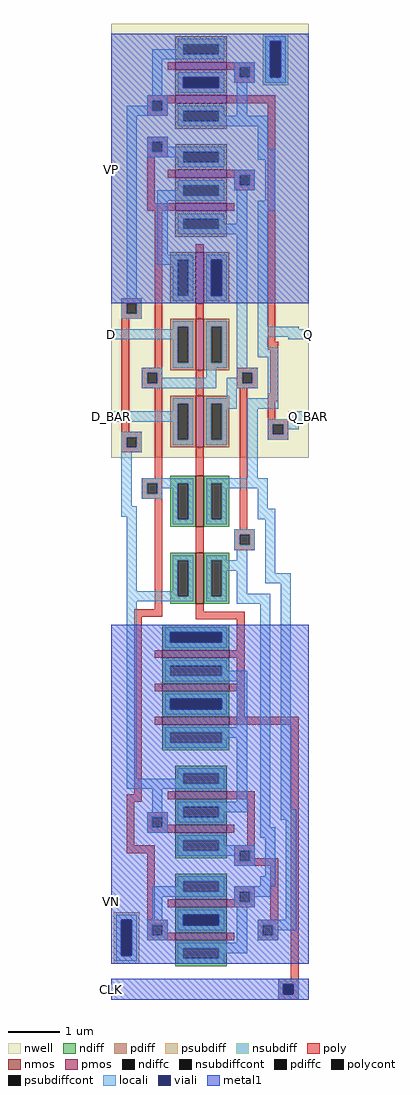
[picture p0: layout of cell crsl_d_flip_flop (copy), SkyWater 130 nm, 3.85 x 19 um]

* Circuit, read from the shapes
.subckt crsl_d_flip_flop (copy) CLK D D_BAR Q Q_BAR VN VP
XM1 VN CLK n1 VN sky130_fd_pr__nfet_01v8 w=1.3 l=0.15 m=3
XM2 VN n2 n3 VN sky130_fd_pr__nfet_01v8 w=1 l=0.15
XM3 n2 n3 VN VN sky130_fd_pr__nfet_01v8 w=1 l=0.15
XM4 n1 Q_BAR Q VN sky130_fd_pr__nfet_01v8 w=1 l=0.15
XM5 Q_BAR Q n1 VN sky130_fd_pr__nfet_01v8 w=1 l=0.15
XM6 n3 CLK Q_BAR VN sky130_fd_pr__nfet_01v8 w=1 l=0.15
XM7 Q CLK n2 VN sky130_fd_pr__nfet_01v8 w=1 l=0.15
XM8 n4 n2 n3 VP sky130_fd_pr__pfet_01v8 w=1 l=0.15
XM9 n2 n3 n4 VP sky130_fd_pr__pfet_01v8 w=1 l=0.15
XM10 VP Q_BAR Q VP sky130_fd_pr__pfet_01v8 w=1 l=0.15
XM11 Q_BAR Q VP VP sky130_fd_pr__pfet_01v8 w=1 l=0.15
XM12 n3 CLK D_BAR VP sky130_fd_pr__pfet_01v8 w=1 l=0.15
XM13 n2 CLK D VP sky130_fd_pr__pfet_01v8 w=1 l=0.15
XM14 VP CLK n4 VP sky130_fd_pr__pfet_01v8 w=1 l=0.15
.ends

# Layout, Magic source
magic
tech sky130A
<< nwell >>
rect 85 -405 470 440
<< nmos >>
rect 250 -540 265 -440
rect 250 -690 265 -590
rect 185 -795 315 -780
rect 185 -860 315 -845
rect 185 -925 315 -910
rect 210 -1070 310 -1055
rect 210 -1135 310 -1120
rect 210 -1280 310 -1265
rect 210 -1345 310 -1330
<< pmos >>
rect 210 350 310 365
rect 210 285 310 300
rect 210 140 310 155
rect 210 75 310 90
rect 250 -105 265 -5
rect 250 -235 265 -135
rect 250 -385 265 -285
<< ndiff >>
rect 200 -455 250 -440
rect 200 -525 215 -455
rect 235 -525 250 -455
rect 200 -540 250 -525
rect 265 -455 315 -440
rect 265 -525 280 -455
rect 300 -525 315 -455
rect 265 -540 315 -525
rect 200 -605 250 -590
rect 200 -675 215 -605
rect 235 -675 250 -605
rect 200 -690 250 -675
rect 265 -605 315 -590
rect 265 -675 280 -605
rect 300 -675 315 -605
rect 265 -690 315 -675
rect 185 -745 315 -730
rect 185 -765 200 -745
rect 300 -765 315 -745
rect 185 -780 315 -765
rect 185 -810 315 -795
rect 185 -830 200 -810
rect 300 -830 315 -810
rect 185 -845 315 -830
rect 185 -875 315 -860
rect 185 -895 200 -875
rect 300 -895 315 -875
rect 185 -910 315 -895
rect 185 -940 315 -925
rect 185 -960 200 -940
rect 300 -960 315 -940
rect 185 -975 315 -960
rect 210 -1020 310 -1005
rect 210 -1040 225 -1020
rect 295 -1040 310 -1020
rect 210 -1055 310 -1040
rect 210 -1085 310 -1070
rect 210 -1105 225 -1085
rect 295 -1105 310 -1085
rect 210 -1120 310 -1105
rect 210 -1150 310 -1135
rect 210 -1170 225 -1150
rect 295 -1170 310 -1150
rect 210 -1185 310 -1170
rect 210 -1230 310 -1215
rect 210 -1250 225 -1230
rect 295 -1250 310 -1230
rect 210 -1265 310 -1250
rect 210 -1295 310 -1280
rect 210 -1315 225 -1295
rect 295 -1315 310 -1295
rect 210 -1330 310 -1315
rect 210 -1360 310 -1345
rect 210 -1380 225 -1360
rect 295 -1380 310 -1360
rect 210 -1395 310 -1380
<< pdiff >>
rect 210 400 310 415
rect 210 380 225 400
rect 295 380 310 400
rect 210 365 310 380
rect 210 335 310 350
rect 210 315 225 335
rect 295 315 310 335
rect 210 300 310 315
rect 210 270 310 285
rect 210 250 225 270
rect 295 250 310 270
rect 210 235 310 250
rect 210 190 310 205
rect 210 170 225 190
rect 295 170 310 190
rect 210 155 310 170
rect 210 125 310 140
rect 210 105 225 125
rect 295 105 310 125
rect 210 90 310 105
rect 210 60 310 75
rect 210 40 225 60
rect 295 40 310 60
rect 210 25 310 40
rect 200 -20 250 -5
rect 200 -90 215 -20
rect 235 -90 250 -20
rect 200 -105 250 -90
rect 265 -20 315 -5
rect 265 -90 280 -20
rect 300 -90 315 -20
rect 265 -105 315 -90
rect 200 -150 250 -135
rect 200 -220 215 -150
rect 235 -220 250 -150
rect 200 -235 250 -220
rect 265 -150 315 -135
rect 265 -220 280 -150
rect 300 -220 315 -150
rect 265 -235 315 -220
rect 200 -300 250 -285
rect 200 -370 215 -300
rect 235 -370 250 -300
rect 200 -385 250 -370
rect 265 -300 315 -285
rect 265 -370 280 -300
rect 300 -370 315 -300
rect 265 -385 315 -370
<< ndiffc >>
rect 215 -525 235 -455
rect 280 -525 300 -455
rect 215 -675 235 -605
rect 280 -675 300 -605
rect 200 -765 300 -745
rect 200 -830 300 -810
rect 200 -895 300 -875
rect 200 -960 300 -940
rect 225 -1040 295 -1020
rect 225 -1105 295 -1085
rect 225 -1170 295 -1150
rect 225 -1250 295 -1230
rect 225 -1315 295 -1295
rect 225 -1380 295 -1360
<< pdiffc >>
rect 225 380 295 400
rect 225 315 295 335
rect 225 250 295 270
rect 225 170 295 190
rect 225 105 295 125
rect 225 40 295 60
rect 215 -90 235 -20
rect 280 -90 300 -20
rect 215 -220 235 -150
rect 280 -220 300 -150
rect 215 -370 235 -300
rect 280 -370 300 -300
<< psubdiff >>
rect 90 -1305 140 -1290
rect 90 -1375 105 -1305
rect 125 -1375 140 -1305
rect 90 -1390 140 -1375
<< nsubdiff >>
rect 380 405 430 420
rect 380 335 395 405
rect 415 335 430 405
rect 380 320 430 335
<< psubdiffcont >>
rect 105 -1375 125 -1305
<< nsubdiffcont >>
rect 395 335 415 405
<< poly >>
rect 195 350 210 365
rect 310 355 365 365
rect 310 350 335 355
rect 325 335 335 350
rect 355 335 365 355
rect 325 325 365 335
rect 155 290 210 300
rect 155 270 165 290
rect 185 285 210 290
rect 310 285 405 300
rect 185 270 195 285
rect 155 260 195 270
rect 155 210 195 220
rect 155 190 165 210
rect 185 190 195 210
rect 155 180 195 190
rect 155 90 170 180
rect 195 140 210 155
rect 310 145 365 155
rect 310 140 335 145
rect 325 125 335 140
rect 355 125 365 145
rect 325 115 365 125
rect 155 75 210 90
rect 310 75 325 90
rect 105 -105 145 -95
rect 105 -125 115 -105
rect 135 -125 145 -105
rect 105 -135 145 -125
rect 105 -355 120 -135
rect 170 -230 185 75
rect 250 -5 265 10
rect 250 -135 265 -105
rect 145 -240 185 -230
rect 390 -180 405 285
rect 390 -195 410 -180
rect 145 -260 155 -240
rect 175 -260 185 -240
rect 145 -270 185 -260
rect 105 -365 145 -355
rect 105 -385 115 -365
rect 135 -385 145 -365
rect 105 -395 145 -385
rect 170 -445 185 -270
rect 250 -285 265 -235
rect 330 -240 370 -230
rect 330 -260 340 -240
rect 360 -260 370 -240
rect 330 -270 370 -260
rect 250 -440 265 -385
rect 145 -455 185 -445
rect 145 -475 155 -455
rect 175 -475 185 -455
rect 145 -485 185 -475
rect 170 -700 185 -485
rect 250 -590 265 -540
rect 335 -545 350 -270
rect 395 -280 410 -195
rect 390 -295 410 -280
rect 390 -330 405 -295
rect 390 -340 430 -330
rect 390 -360 400 -340
rect 420 -360 430 -340
rect 390 -370 430 -360
rect 325 -555 365 -545
rect 325 -575 335 -555
rect 355 -575 365 -555
rect 325 -585 365 -575
rect 130 -715 185 -700
rect 250 -705 265 -690
rect 130 -1060 145 -715
rect 250 -720 345 -705
rect 330 -780 345 -720
rect 170 -795 185 -780
rect 315 -795 345 -780
rect 330 -845 345 -795
rect 170 -860 185 -845
rect 315 -860 345 -845
rect 330 -910 345 -860
rect 170 -925 185 -910
rect 315 -925 450 -910
rect 115 -1075 145 -1060
rect 195 -1070 210 -1055
rect 310 -1070 365 -1055
rect 115 -1160 130 -1075
rect 155 -1105 195 -1095
rect 155 -1125 165 -1105
rect 185 -1120 195 -1105
rect 185 -1125 210 -1120
rect 155 -1135 210 -1125
rect 310 -1135 325 -1120
rect 115 -1175 170 -1160
rect 155 -1305 170 -1175
rect 350 -1160 365 -1070
rect 325 -1170 365 -1160
rect 325 -1190 335 -1170
rect 355 -1185 365 -1170
rect 355 -1190 410 -1185
rect 325 -1200 410 -1190
rect 325 -1250 365 -1240
rect 325 -1265 335 -1250
rect 195 -1280 210 -1265
rect 310 -1270 335 -1265
rect 355 -1270 365 -1250
rect 310 -1280 365 -1270
rect 155 -1315 195 -1305
rect 155 -1335 165 -1315
rect 185 -1330 195 -1315
rect 395 -1305 410 -1200
rect 370 -1315 410 -1305
rect 185 -1335 210 -1330
rect 155 -1345 210 -1335
rect 310 -1345 325 -1330
rect 370 -1335 380 -1315
rect 400 -1335 410 -1315
rect 370 -1345 410 -1335
rect 435 -1420 450 -925
rect 410 -1430 450 -1420
rect 410 -1450 420 -1430
rect 440 -1450 450 -1430
rect 410 -1460 450 -1450
<< polycont >>
rect 335 335 355 355
rect 165 270 185 290
rect 165 190 185 210
rect 335 125 355 145
rect 115 -125 135 -105
rect 155 -260 175 -240
rect 115 -385 135 -365
rect 340 -260 360 -240
rect 155 -475 175 -455
rect 400 -360 420 -340
rect 335 -575 355 -555
rect 165 -1125 185 -1105
rect 335 -1190 355 -1170
rect 335 -1270 355 -1250
rect 165 -1335 185 -1315
rect 380 -1335 400 -1315
rect 420 -1450 440 -1430
<< locali >>
rect 215 400 305 410
rect 215 390 225 400
rect 165 380 225 390
rect 295 380 305 400
rect 165 370 305 380
rect 385 405 425 415
rect 165 300 185 370
rect 325 355 365 365
rect 215 335 305 345
rect 215 315 225 335
rect 295 315 305 335
rect 325 335 335 355
rect 355 335 365 355
rect 325 325 365 335
rect 385 335 395 405
rect 415 335 425 405
rect 385 325 425 335
rect 215 305 305 315
rect 155 290 195 300
rect 155 280 165 290
rect 115 270 165 280
rect 185 270 195 290
rect 115 260 195 270
rect 215 270 305 280
rect 115 -95 135 260
rect 215 250 225 270
rect 295 260 305 270
rect 330 260 350 325
rect 295 250 390 260
rect 215 240 390 250
rect 155 210 195 220
rect 155 190 165 210
rect 185 200 195 210
rect 185 190 305 200
rect 155 180 225 190
rect 215 170 225 180
rect 295 170 305 190
rect 370 195 390 240
rect 370 175 405 195
rect 215 160 305 170
rect 325 145 365 155
rect 215 125 305 135
rect 215 115 225 125
rect 175 105 225 115
rect 295 105 305 125
rect 325 125 335 145
rect 355 125 365 145
rect 325 115 365 125
rect 175 95 305 105
rect 175 -10 195 95
rect 215 60 305 70
rect 215 40 225 60
rect 295 50 305 60
rect 330 50 350 115
rect 385 95 405 175
rect 295 40 350 50
rect 215 30 350 40
rect 175 -20 245 -10
rect 175 -30 215 -20
rect 205 -90 215 -30
rect 235 -90 245 -20
rect 105 -105 145 -95
rect 205 -100 245 -90
rect 270 -20 310 -10
rect 270 -90 280 -20
rect 300 -90 310 -20
rect 270 -100 310 -90
rect 105 -125 115 -105
rect 135 -125 145 -105
rect 105 -135 145 -125
rect 205 -150 245 -140
rect 205 -155 215 -150
rect 85 -175 215 -155
rect 205 -220 215 -175
rect 235 -220 245 -150
rect 205 -230 245 -220
rect 270 -150 310 -140
rect 270 -220 280 -150
rect 300 -220 310 -150
rect 270 -230 310 -220
rect 330 -230 350 30
rect 370 75 405 95
rect 370 -150 390 75
rect 370 -155 450 -150
rect 370 -170 470 -155
rect 370 -190 390 -170
rect 430 -175 470 -170
rect 370 -210 410 -190
rect 145 -240 185 -230
rect 145 -260 155 -240
rect 175 -250 185 -240
rect 270 -250 290 -230
rect 330 -240 370 -230
rect 330 -250 340 -240
rect 175 -260 290 -250
rect 145 -270 290 -260
rect 310 -260 340 -250
rect 360 -260 370 -240
rect 310 -270 370 -260
rect 310 -290 330 -270
rect 390 -290 410 -210
rect 205 -300 245 -290
rect 205 -315 215 -300
rect 85 -335 215 -315
rect 105 -365 145 -355
rect 105 -385 115 -365
rect 135 -385 145 -365
rect 205 -370 215 -335
rect 235 -370 245 -300
rect 205 -380 245 -370
rect 270 -300 330 -290
rect 270 -370 280 -300
rect 300 -310 330 -300
rect 350 -310 410 -290
rect 300 -370 310 -310
rect 270 -380 310 -370
rect 105 -395 145 -385
rect 105 -500 125 -395
rect 350 -445 370 -310
rect 430 -330 470 -315
rect 390 -335 470 -330
rect 390 -340 450 -335
rect 390 -360 400 -340
rect 420 -350 450 -340
rect 420 -360 430 -350
rect 390 -370 430 -360
rect 145 -455 245 -445
rect 145 -475 155 -455
rect 175 -465 215 -455
rect 175 -475 185 -465
rect 145 -485 185 -475
rect 105 -520 135 -500
rect 115 -665 135 -520
rect 205 -525 215 -465
rect 235 -525 245 -455
rect 205 -535 245 -525
rect 270 -455 390 -445
rect 270 -525 280 -455
rect 300 -465 390 -455
rect 300 -525 310 -465
rect 370 -505 390 -465
rect 370 -525 405 -505
rect 270 -535 310 -525
rect 325 -555 365 -545
rect 325 -575 335 -555
rect 355 -575 365 -555
rect 325 -585 365 -575
rect 205 -605 245 -595
rect 205 -665 215 -605
rect 115 -675 215 -665
rect 235 -675 245 -605
rect 115 -685 245 -675
rect 270 -605 310 -595
rect 330 -605 350 -585
rect 270 -675 280 -605
rect 300 -625 350 -605
rect 300 -675 310 -625
rect 270 -685 310 -675
rect 330 -670 350 -625
rect 385 -630 405 -525
rect 385 -650 435 -630
rect 115 -1030 135 -685
rect 330 -690 395 -670
rect 190 -745 310 -735
rect 190 -765 200 -745
rect 300 -765 310 -745
rect 190 -775 310 -765
rect 190 -810 310 -800
rect 190 -830 200 -810
rect 300 -820 310 -810
rect 300 -830 350 -820
rect 190 -840 350 -830
rect 190 -875 310 -865
rect 190 -895 200 -875
rect 300 -895 310 -875
rect 190 -905 310 -895
rect 330 -930 350 -840
rect 190 -940 350 -930
rect 190 -960 200 -940
rect 300 -950 350 -940
rect 300 -960 310 -950
rect 190 -970 310 -960
rect 215 -1020 305 -1010
rect 215 -1030 225 -1020
rect 115 -1040 225 -1030
rect 295 -1040 305 -1020
rect 115 -1050 305 -1040
rect 165 -1095 185 -1050
rect 330 -1075 350 -950
rect 215 -1085 350 -1075
rect 155 -1105 195 -1095
rect 155 -1125 165 -1105
rect 185 -1125 195 -1105
rect 215 -1105 225 -1085
rect 295 -1095 350 -1085
rect 295 -1105 305 -1095
rect 215 -1115 305 -1105
rect 155 -1135 195 -1125
rect 375 -1125 395 -690
rect 415 -1090 435 -650
rect 415 -1110 445 -1090
rect 215 -1150 305 -1140
rect 375 -1145 405 -1125
rect 215 -1170 225 -1150
rect 295 -1160 305 -1150
rect 295 -1170 365 -1160
rect 215 -1180 335 -1170
rect 325 -1190 335 -1180
rect 355 -1190 365 -1170
rect 325 -1200 365 -1190
rect 385 -1220 405 -1145
rect 215 -1230 305 -1220
rect 215 -1240 225 -1230
rect 165 -1250 225 -1240
rect 295 -1250 305 -1230
rect 375 -1240 405 -1220
rect 165 -1260 305 -1250
rect 325 -1250 395 -1240
rect 95 -1305 135 -1295
rect 165 -1305 185 -1260
rect 325 -1270 335 -1250
rect 355 -1260 395 -1250
rect 355 -1270 365 -1260
rect 325 -1280 365 -1270
rect 215 -1295 305 -1285
rect 95 -1375 105 -1305
rect 125 -1375 135 -1305
rect 155 -1315 195 -1305
rect 155 -1335 165 -1315
rect 185 -1335 195 -1315
rect 215 -1315 225 -1295
rect 295 -1315 305 -1295
rect 215 -1325 305 -1315
rect 155 -1345 195 -1335
rect 330 -1350 350 -1280
rect 425 -1305 445 -1110
rect 370 -1315 445 -1305
rect 370 -1335 380 -1315
rect 400 -1325 445 -1315
rect 400 -1335 410 -1325
rect 370 -1345 410 -1335
rect 95 -1385 135 -1375
rect 215 -1360 350 -1350
rect 215 -1380 225 -1360
rect 295 -1370 350 -1360
rect 295 -1380 305 -1370
rect 215 -1390 305 -1380
rect 410 -1430 450 -1420
rect 410 -1450 420 -1430
rect 440 -1450 450 -1430
rect 410 -1460 450 -1450
<< viali >>
rect 225 315 295 335
rect 395 335 415 405
rect 280 -90 300 -20
rect 200 -765 300 -745
rect 200 -895 300 -875
rect 105 -1375 125 -1305
rect 225 -1315 295 -1295
rect 420 -1450 440 -1430
<< metal1 >>
rect 85 405 470 420
rect 85 335 395 405
rect 415 335 470 405
rect 85 315 225 335
rect 295 315 470 335
rect 85 -20 470 315
rect 85 -90 280 -20
rect 300 -90 470 -20
rect 85 -105 470 -90
rect 85 -745 470 -730
rect 85 -765 200 -745
rect 300 -765 470 -745
rect 85 -875 470 -765
rect 85 -895 200 -875
rect 300 -895 470 -875
rect 85 -1295 470 -895
rect 85 -1305 225 -1295
rect 85 -1375 105 -1305
rect 125 -1315 225 -1305
rect 295 -1315 470 -1295
rect 125 -1375 470 -1315
rect 85 -1390 470 -1375
rect 85 -1430 470 -1420
rect 85 -1450 420 -1430
rect 440 -1450 470 -1430
rect 85 -1460 470 -1450
<< labels >>
rlabel locali 85 -165 85 -165 7 D
rlabel locali 85 -325 85 -325 7 D_BAR
rlabel locali 470 -165 470 -165 3 Q
rlabel locali 470 -325 470 -325 3 Q_BAR
rlabel metal1 85 155 85 155 7 VP
rlabel metal1 85 -1270 85 -1270 7 VN
rlabel metal1 85 -1440 85 -1440 7 CLK
<< end >>
